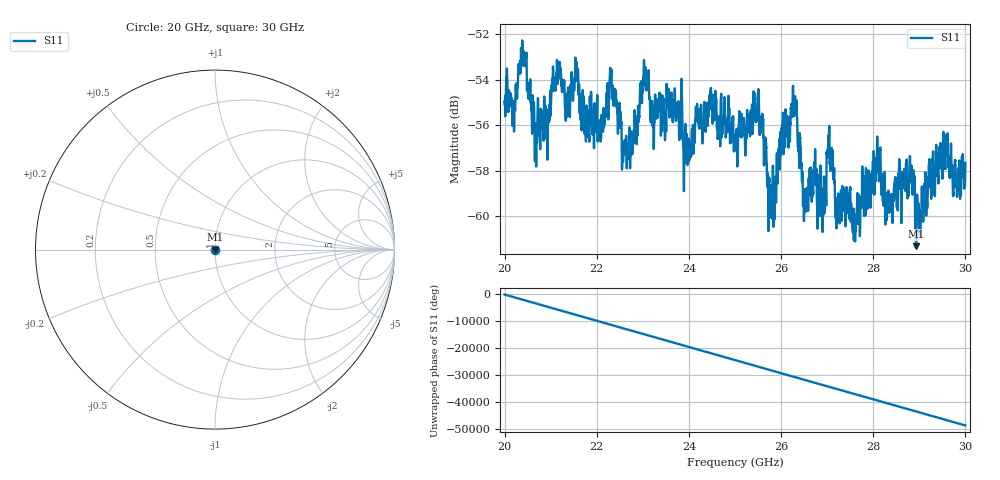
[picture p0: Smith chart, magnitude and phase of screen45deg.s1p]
#  HZ  S  RI  R  50.00
! Rohde & Schwarz ZVA40 4Ports - Version 3.90 - 1145.1110k42 SN: 100403
! Date: 2023-09-30 09:12:56
! Measurement: S12
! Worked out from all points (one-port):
!   5001 points, 20 GHz to 30 GHz, reference 50 ohm
!   lowest |S11| = -61.3 dB at 28.93 GHz (marker M1), VSWR 1.00, Z = 49.9 + j0.009 ohm
!   |S11| at or under -10 dB: start of sweep to end of sweep
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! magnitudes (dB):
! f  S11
! 20 GHz  -55.1
! 20.43 GHz  -52.9
! 20.7 GHz  -56.5
! 21.25 GHz  -54.3
! 22.07 GHz  -56.0
! 22.31 GHz  -53.6
! 22.5 GHz  -55.8
! 22.7 GHz  -57.2
! 23.07 GHz  -54.4
! 23.21 GHz  -55.5
! 23.75 GHz  -55.1
! 23.92 GHz  -56.0
! 24.48 GHz  -54.9
! 25 GHz  -57.1
! 25.47 GHz  -55.7
! 25.81 GHz  -59.3
! 26.25 GHz  -55.0
! 26.54 GHz  -59.3
! 26.93 GHz  -58.4
! 27.06 GHz  -57.6
! 27.22 GHz  -59.3
! 27.5 GHz  -58.7
! 28.11 GHz  -58.0
! 28.31 GHz  -59.2
! 28.75 GHz  -58.2
! 28.93 GHz  -61.3
! 29.57 GHz  -57.4
! 30 GHz  -57.7
